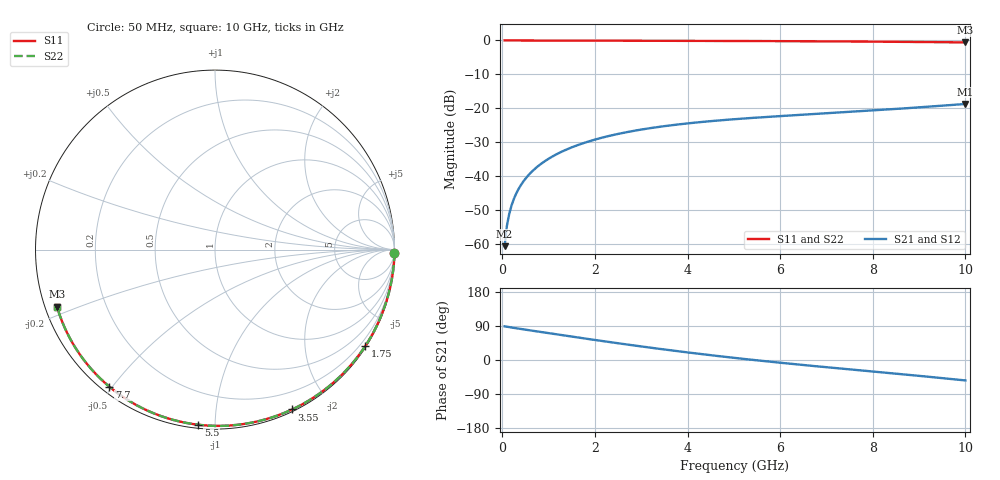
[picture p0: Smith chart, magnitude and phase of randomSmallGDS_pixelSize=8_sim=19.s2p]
! freq	dB(S11)	phase(S11)	dB(S12)	phase(S12)
!  dB(S21)	phase(S21)	dB(S22)	phase(S22)
!S-par simulation data
#  GHz  S  DB  R 50
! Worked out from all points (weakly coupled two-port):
!   200 points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, 50 MHz to 10 GHz, reference 50 ohm
!   highest |S21| = -18.69 dB at 10 GHz (marker M1); lowest = -60.5 dB at 50 MHz (marker M2)
!   lowest |S11| = -0.6 dB at 10 GHz (marker M3), VSWR 30.21, Z = 1.71 - j8.75 ohm
!   |S11| at or under -10 dB: nowhere
!   |S22| runs from -0.6 to 0.0 dB; largest |S21 - S12| = 0
!   S11 on the Smith chart (normalised r, x): 50 MHz: open; 1.75 GHz: 0.03, -3.41; 3.55 GHz: 0.02, -1.59; 5.5 GHz: 0.02, -0.91; 7.7 GHz: 0.02, -0.49; 10 GHz: 0.03, -0.18
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0.05  -0.00 -1.0  -60.55 88.9  -60.55 88.9  -0.00 -1.0
0.1  -0.00 -1.9  -54.54 87.8  -54.54 87.8  -0.00 -1.9
0.15  -0.00 -2.9  -51.03 86.7  -51.03 86.7  -0.00 -2.9
0.2  -0.00 -3.8  -48.55 85.7  -48.55 85.7  -0.00 -3.8
0.25  -0.00 -4.8  -46.63 84.7  -46.63 84.7  -0.00 -4.8
0.35  -0.01 -6.7  -43.75 82.8  -43.75 82.8  -0.01 -6.7
0.5  -0.01 -9.5  -40.70 80.0  -40.70 80.0  -0.01 -9.5
0.7  -0.02 -13.3  -37.83 76.4  -37.83 76.4  -0.02 -13.3
1  -0.02 -18.9  -34.81 70.9  -34.81 70.9  -0.02 -18.9
1.35  -0.03 -25.3  -32.32 64.5  -32.32 64.5  -0.03 -25.3
1.75  -0.05 -32.7  -30.22 57.3  -30.22 57.3  -0.05 -32.7
2.6  -0.07 -47.9  -27.22 42.5  -27.22 42.5  -0.07 -47.9
3.4  -0.09 -61.7  -25.40 29.3  -25.40 29.3  -0.09 -61.7
3.55  -0.10 -64.2  -25.13 26.9  -25.13 26.9  -0.10 -64.3
4.3  -0.12 -76.6  -24.00 15.6  -24.00 15.6  -0.12 -76.6
5.05  -0.15 -88.5  -23.14 5.1  -23.14 5.1  -0.15 -88.5
5.5  -0.17 -95.4  -22.70 -0.9  -22.70 -0.9  -0.17 -95.5
6.7  -0.24 -113.3  -21.69 -15.6  -21.69 -15.6  -0.24 -113.3
7.7  -0.32 -127.6  -20.87 -27.0  -20.87 -27.0  -0.32 -127.6
8.35  -0.38 -136.8  -20.30 -34.3  -20.30 -34.3  -0.38 -136.8
9.2  -0.47 -148.7  -19.49 -44.2  -19.49 -44.2  -0.47 -148.7
10  -0.58 -160.1  -18.69 -53.9  -18.69 -53.9  -0.58 -160.1
